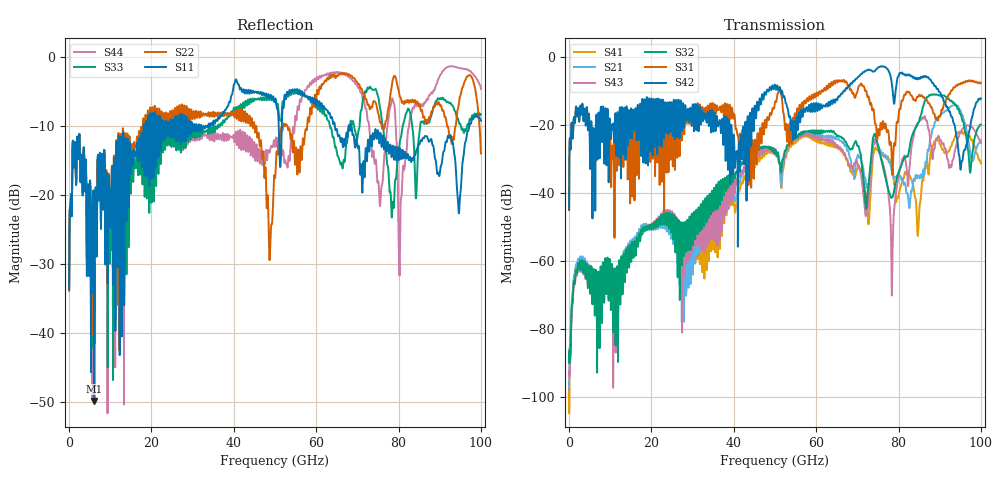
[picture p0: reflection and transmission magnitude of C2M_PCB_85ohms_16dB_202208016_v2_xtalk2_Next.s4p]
! Info: Touchstone file created by Circ.  Input file=Intel_C2M_200G_5p0in_202208016_staggered.circ
# Hz S RI R 50
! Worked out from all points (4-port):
!   10000 points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, 10 MHz to 100 GHz, reference 50 ohm
!   strongest paths, dB at 10 MHz, 25.01 GHz, 50.01 GHz, 75.01 GHz, 100 GHz:
!     S42: -44.9, -14.7, -8.3, -3.2, -12.3
!     S31: -45.0, -16.7, -13.3, -21.9, -7.7
!     S32: -88.6, -46.3, -27.6, -26.1, -19.9
!     S43: -92.3, -45.5, -28.0, -26.6, -25.3
!     S21: -97.5, -47.9, -27.8, -25.9, -24.5
!     S41: -95.9, -47.4, -28.2, -27.4, -31.3
!   lowest |S11| = -49.8 dB at 6.13 GHz (marker M1), VSWR 1.01, Z = 50.3 + j0.0199 ohm
!   |S11| at or under -10 dB: start of sweep to 18.07 GHz; 64.54 GHz to 67.89 GHz (3.349 GHz wide, 5.06 % of centre); 68.58 GHz to 97.18 GHz (28.6 GHz wide, 34.5 % of centre)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
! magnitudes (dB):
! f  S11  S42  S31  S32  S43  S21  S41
! 10 MHz  -33.7  -44.9  -45.0  -88.6  -92.3  -97.5  -95.9
! 6.13 GHz  -49.8  -22.6  -25.0  -67.0  -69.4  -64.3  -66.4
! 56.65 GHz  -5.3  -17.7  -13.7  -22.6  -23.4  -22.6  -23.8
! 74.57 GHz  -11.1  -3.8  -20.5  -24.1  -25.4  -24.8  -27.1
! 78.43 GHz  -13.9  -8.5  -33.2  -41.4  -66.6  -33.5  -32.7
! 85.35 GHz  -12.1  -6.1  -11.6  -17.5  -18.6  -35.0  -42.2
! 100 GHz  -9.3  -12.3  -7.7  -19.9  -25.3  -24.5  -31.3
